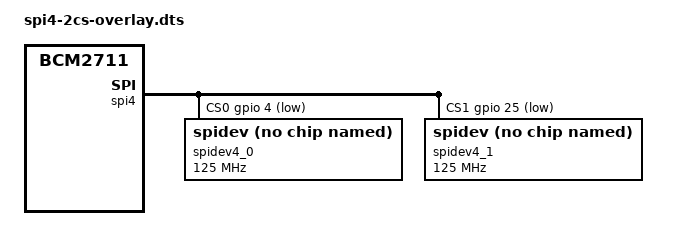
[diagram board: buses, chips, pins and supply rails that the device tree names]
/dts-v1/;
/plugin/;


/ {
	compatible = "brcm,bcm2711";

	fragment@0 {
		target = <&spi4>;
		frag0: __overlay__ {
			/* needed to avoid dtc warning */
			#address-cells = <1>;
			#size-cells = <0>;

			pinctrl-names = "default";
		        pinctrl-0 = <&spi4_pins>;
			cs-gpios = <&gpio 4 1>, <&gpio 25 1>;
			status = "okay";

			spidev4_0: spidev@0 {
				compatible = "spidev";
				reg = <0>;      /* CE0 */
				#address-cells = <1>;
				#size-cells = <0>;
				spi-max-frequency = <125000000>;
				status = "okay";
			};

			spidev4_1: spidev@1 {
				compatible = "spidev";
				reg = <1>;      /* CE1 */
				#address-cells = <1>;
				#size-cells = <0>;
				spi-max-frequency = <125000000>;
				status = "okay";
			};
		};
	};

	__overrides__ {
		cs0_pin  = <&frag0>,"cs-gpios:4";
		cs1_pin  = <&frag0>,"cs-gpios:16";
		cs0_spidev = <&spidev4_0>,"status";
		cs1_spidev = <&spidev4_1>,"status";
	};
};
